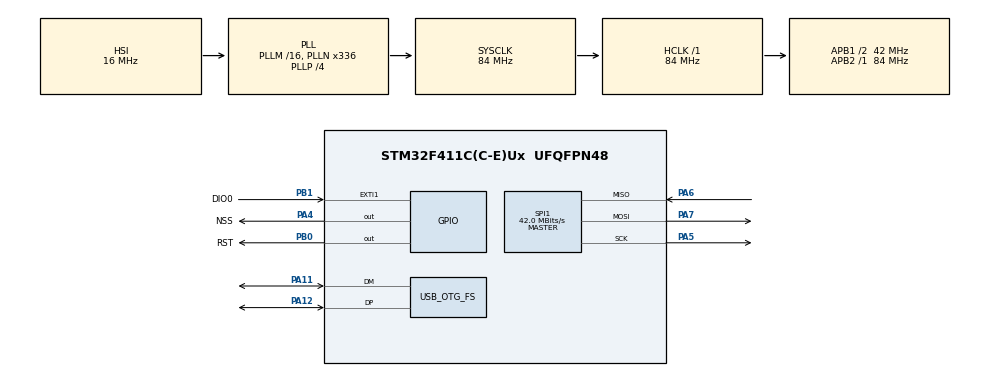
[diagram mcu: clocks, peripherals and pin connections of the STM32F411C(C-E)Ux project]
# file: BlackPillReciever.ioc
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Mcu.Family=STM32F4
Mcu.Name=STM32F411C(C-E)Ux
Mcu.Package=UFQFPN48
NVIC.OTG_FS_IRQn=true\:0\:0\:false\:false\:true\:false\:true\:true
NVIC.PriorityGroup=NVIC_PRIORITYGROUP_4
PA11.Mode=Device_Only
PA11.Signal=USB_OTG_FS_DM
PA12.Mode=Device_Only
PA12.Signal=USB_OTG_FS_DP
PA4.GPIO_Label=NSS
PA4.Signal=GPIO_Output
PA5.Mode=Full_Duplex_Master
PA5.Signal=SPI1_SCK
PA6.Mode=Full_Duplex_Master
PA6.Signal=SPI1_MISO
PA7.Mode=Full_Duplex_Master
PA7.Signal=SPI1_MOSI
PB0.GPIO_Label=RST
PB0.Signal=GPIO_Output
PB1.GPIO_Label=DIO0
PB1.Signal=GPXTI1
PH0\ -\ OSC_IN.Mode=HSE-External-Oscillator
PH0\ -\ OSC_IN.Signal=RCC_OSC_IN
PH1\ -\ OSC_OUT.Mode=HSE-External-Oscillator
PH1\ -\ OSC_OUT.Signal=RCC_OSC_OUT
ProjectManager.HeapSize=0x200
ProjectManager.StackSize=0x400
ProjectManager.TargetToolchain=STM32CubeIDE
RCC.48MHZClocksFreq_Value=48000000
RCC.AHBFreq_Value=84000000
RCC.APB1CLKDivider=RCC_HCLK_DIV2
RCC.APB1Freq_Value=42000000
RCC.APB1TimFreq_Value=84000000
RCC.APB2Freq_Value=84000000
RCC.APB2TimFreq_Value=84000000
RCC.CortexFreq_Value=84000000
RCC.HCLKFreq_Value=84000000
RCC.HSE_VALUE=25000000
RCC.HSI_VALUE=16000000
RCC.LSE_VALUE=32768
RCC.PLLN=336
RCC.PLLP=RCC_PLLP_DIV4
RCC.PLLQ=7
RCC.PLLSourceVirtualString=RCC_PLLSOURCE_HSI
RCC.SYSCLKFreq_VALUE=84000000
RCC.SYSCLKSource=RCC_SYSCLKSOURCE_PLLCLK
RCC.VCOOutputFreq_Value=336000000
SPI1.BaudRatePrescaler=SPI_BAUDRATEPRESCALER_2
SPI1.CalculateBaudRate=42.0 MBits/s
SPI1.Direction=SPI_DIRECTION_2LINES
SPI1.Mode=SPI_MODE_MASTER
SPI1.VirtualType=VM_MASTER
USB_DEVICE.CLASS_NAME_FS=CDC
USB_DEVICE.VirtualMode=Cdc
USB_DEVICE.VirtualModeFS=Cdc_FS
USB_OTG_FS.VirtualMode=Device_Only
VP_USB_DEVICE_VS_USB_DEVICE_CDC_FS.Mode=CDC_FS
board=custom

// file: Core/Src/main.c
/* USER CODE BEGIN Header */
/**
  ******************************************************************************
  * @file           : main.c
  * @brief          : Main program body
  ******************************************************************************
  * @attention
  *
  * Copyright (c) 2026 STMicroelectronics.
  * All rights reserved.
  *
  * This software is licensed under terms that can be found in the LICENSE file
  * in the root directory of this software component.
  * If no LICENSE file comes with this software, it is provided AS-IS.
  *
  ******************************************************************************
  */
/* USER CODE END Header */

#include "main.h"
#include "usb_device.h"
#include "usbd_cdc_if.h"
#include <string.h>
#include <stdio.h>

/* USER CODE BEGIN PD */
#define LORA_NSS_PORT GPIOA
#define LORA_NSS_PIN  GPIO_PIN_4

#define LORA_RST_PORT GPIOB
#define LORA_RST_PIN  GPIO_PIN_0

#define LORA_DIO0_PORT GPIOB
#define LORA_DIO0_PIN  GPIO_PIN_1
extern uint8_t CDC_Transmit_FS(uint8_t* Buf, uint16_t Len);
/* USER CODE END PD */

SPI_HandleTypeDef hspi1;

/* USER CODE BEGIN PV */
uint8_t rxBuffer[128];
uint32_t packets = 0;
/* USER CODE END PV */

void SystemClock_Config(void);
static void MX_GPIO_Init(void);
static void MX_SPI1_Init(void);
/* USER CODE END PFP */

/* USER CODE BEGIN 0 */
void usb_print(char *msg)
{
    while(CDC_Transmit_FS((uint8_t*)msg, strlen(msg)) == USBD_BUSY)
        HAL_Delay(1);
}

void lora_select()
{
    HAL_GPIO_WritePin(LORA_NSS_PORT, LORA_NSS_PIN, GPIO_PIN_RESET);
}

void lora_unselect()
{
    HAL_GPIO_WritePin(LORA_NSS_PORT, LORA_NSS_PIN, GPIO_PIN_SET);
}

void lora_write(uint8_t reg, uint8_t data)
{
    uint8_t buf[2];
    buf[0] = reg | 0x80;
    buf[1] = data;

    lora_select();
    HAL_SPI_Transmit(&hspi1, buf, 2, 100);
    lora_unselect();
}

uint8_t lora_read(uint8_t reg)
{
    uint8_t tx[2], rx[2];

    tx[0] = reg & 0x7F;
    tx[1] = 0x00;

    lora_select();
    HAL_SPI_TransmitReceive(&hspi1, tx, rx, 2, 100);
    lora_unselect();

    return rx[1];
}

void lora_reset()
{
    HAL_GPIO_WritePin(LORA_RST_PORT, LORA_RST_PIN, GPIO_PIN_RESET);
    HAL_Delay(10);
    HAL_GPIO_WritePin(LORA_RST_PORT, LORA_RST_PIN, GPIO_PIN_SET);
    HAL_Delay(10);
}

void lora_init()
{
    lora_reset();

    lora_write(0x01, 0x80);   // sleep LoRa
    HAL_Delay(10);

    lora_write(0x01, 0x81);   // standby

    /* 433 MHz */
    lora_write(0x06, 0x6C);
    lora_write(0x07, 0x80);
    lora_write(0x08, 0x00);

    lora_write(0x0C, 0x23);   // LNA boost

    lora_write(0x0E, 0x00);
    lora_write(0x0F, 0x00);

    lora_write(0x1D, 0x72);   // BW125 CR4/5
    lora_write(0x1E, 0x74);   // SF7 CRC ON
    lora_write(0x26, 0x04);   // AGC ON

    lora_write(0x39, 0x34);   // sync word

    lora_write(0x40, 0x00);   // DIO0 = RxDone

    lora_write(0x12, 0xFF);   // clear IRQ

    lora_write(0x01, 0x85);   // continuous RX mode
}

void lora_receive()
{
    uint8_t irq = lora_read(0x12);

    if((irq & 0x40) && !(irq & 0x20))   // RxDone & no CRC error
    {
        lora_write(0x12, 0xFF);

        uint8_t len  = lora_read(0x13);
        uint8_t addr = lora_read(0x10);

        if(len > sizeof(rxBuffer))
        {
            usb_print("PACKET TOO LARGE\r\n");
            return;
        }

        lora_write(0x0D, addr);

        for(uint8_t i = 0; i < len; i++)
        {
            rxBuffer[i] = lora_read(0x00);
        }

        int rssi = lora_read(0x1A) - 157;

        uint8_t p = 0;

        char team[16]  = {0};
        char state[16] = {0};

        /* ================= TEAM ================= */
        uint8_t team_len = rxBuffer[p++];

        if(team_len > 15)
            return;

        memcpy(team, &rxBuffer[p], team_len);
        team[team_len] = '\0';
        p += team_len;

        /* ================= TIME ================= */
        int32_t time;
        memcpy(&time, &rxBuffer[p], 4);
        p += 4;

        /* ================= PACKET COUNT ================= */
        int32_t packetCount;
        memcpy(&packetCount, &rxBuffer[p], 4);
        p += 4;

        /* ================= ALTITUDE ================= */
        float altitude;
        memcpy(&altitude, &rxBuffer[p], 4);
        p += 4;

        /* ================= PRESSURE ================= */
        float pressure;
        memcpy(&pressure, &rxBuffer[p], 4);
        p += 4;

        /* ================= TEMPERATURE ================= */
        float temperature;
        memcpy(&temperature, &rxBuffer[p], 4);
        p += 4;

        /* ================= VOLTAGE ================= */
        float voltage;
        memcpy(&voltage, &rxBuffer[p], 4);
        p += 4;

        /* ================= GPS ================= */
        float latitude;
        memcpy(&latitude, &rxBuffer[p], 4);
        p += 4;

        float longitude;
        memcpy(&longitude, &rxBuffer[p], 4);
        p += 4;

        float gps_altitude;
        memcpy(&gps_altitude, &rxBuffer[p], 4);
        p += 4;

        /* ================= SATELLITES ================= */
        int32_t satellites;
        memcpy(&satellites, &rxBuffer[p], 4);
        p += 4;

        /* ================= ACCEL ================= */
        float ax, ay, az;

        memcpy(&ax, &rxBuffer[p], 4);
        p += 4;

        memcpy(&ay, &rxBuffer[p], 4);
        p += 4;

        memcpy(&az, &rxBuffer[p], 4);
        p += 4;

        /* ================= GYRO ================= */
        float gyro;
        memcpy(&gyro, &rxBuffer[p], 4);
        p += 4;

        /* ================= STATE ================= */
        uint8_t state_len = rxBuffer[p++];

        if(state_len > 15)
            return;

        memcpy(state, &rxBuffer[p], state_len);
        state[state_len] = '\0';
        p += state_len;

        /* ================= PRINT ================= */
        char msg[400];

        sprintf(msg,
        "TEAM:%s | "
        "TIME:%ld | "
        "PKT:%ld | "
        "ALT:%.2fm | "
        "P:%.2fhPa | "
        "T:%.2fC | "
        "V:%.2fV | "
        "LAT:%.5f | "
        "LON:%.5f | "
        "GPS_ALT:%.2fm | "
        "SAT:%ld | "
        "AX:%.2f AY:%.2f AZ:%.2f | "
        "GYRO:%.2f | "
        "STATE:%s | "
        "RSSI:%d dBm\r\n",

        team,
        time,
        packetCount,
        altitude,
        pressure,
        temperature,
        voltage,
        latitude,
        longitude,
        gps_altitude,
        satellites,
        ax, ay, az,
        gyro,
        state,
        rssi);

        usb_print(msg);

        packets++;
    }
}

/* USER CODE END 0 */

int main(void)
{

  /* MCU Configuration--------------------------------------------------------*/

  /* Reset of all peripherals, Initializes the Flash interface and the Systick. */
  HAL_Init();

  /* Configure the system clock */
  SystemClock_Config();

  /* Initialize all configured peripherals */
  MX_GPIO_Init();
  MX_SPI1_Init();
  MX_USB_DEVICE_Init();
  /* USER CODE BEGIN 2 */
  HAL_Delay(1000);

  usb_print("LoRa Receiver Start\r\n");

  lora_init();

  uint8_t ver = lora_read(0x42);
  char msg[50];
  sprintf(msg,"SX1278 Version: 0x%02X\r\n",ver);
  usb_print(msg);

  usb_print("Waiting Packets...\r\n");

  /* USER CODE END 2 */

  /* Infinite loop */
  /* USER CODE BEGIN WHILE */
  while (1)
  {
	  lora_receive();
	  HAL_Delay(10);
    /* USER CODE END WHILE */

  }
}

void SystemClock_Config(void)
{
  RCC_OscInitTypeDef RCC_OscInitStruct = {0};
  RCC_ClkInitTypeDef RCC_ClkInitStruct = {0};

  /** Configure the main internal regulator output voltage
  */
  __HAL_RCC_PWR_CLK_ENABLE();
  __HAL_PWR_VOLTAGESCALING_CONFIG(PWR_REGULATOR_VOLTAGE_SCALE1);

  /** Initializes the RCC Oscillators according to the specified parameters
  * in the RCC_OscInitTypeDef structure.
  */
  RCC_OscInitStruct.OscillatorType = RCC_OSCILLATORTYPE_HSI;
  RCC_OscInitStruct.HSIState = RCC_HSI_ON;
  RCC_OscInitStruct.HSICalibrationValue = RCC_HSICALIBRATION_DEFAULT;
  RCC_OscInitStruct.PLL.PLLState = RCC_PLL_ON;
  RCC_OscInitStruct.PLL.PLLSource = RCC_PLLSOURCE_HSI;
  RCC_OscInitStruct.PLL.PLLM = 16;
  RCC_OscInitStruct.PLL.PLLN = 336;
  RCC_OscInitStruct.PLL.PLLP = RCC_PLLP_DIV4;
  RCC_OscInitStruct.PLL.PLLQ = 7;
  if (HAL_RCC_OscConfig(&RCC_OscInitStruct) != HAL_OK)
  {
    Error_Handler();
  }

  /** Initializes the CPU, AHB and APB buses clocks
  */
  RCC_ClkInitStruct.ClockType = RCC_CLOCKTYPE_HCLK|RCC_CLOCKTYPE_SYSCLK
                              |RCC_CLOCKTYPE_PCLK1|RCC_CLOCKTYPE_PCLK2;
  RCC_ClkInitStruct.SYSCLKSource = RCC_SYSCLKSOURCE_PLLCLK;
  RCC_ClkInitStruct.AHBCLKDivider = RCC_SYSCLK_DIV1;
  RCC_ClkInitStruct.APB1CLKDivider = RCC_HCLK_DIV2;
  RCC_ClkInitStruct.APB2CLKDivider = RCC_HCLK_DIV1;

  if (HAL_RCC_ClockConfig(&RCC_ClkInitStruct, FLASH_LATENCY_2) != HAL_OK)
  {
    Error_Handler();
  }
}

static void MX_SPI1_Init(void)
{

  /* SPI1 parameter configuration*/
  hspi1.Instance = SPI1;
  hspi1.Init.Mode = SPI_MODE_MASTER;
  hspi1.Init.Direction = SPI_DIRECTION_2LINES;
  hspi1.Init.DataSize = SPI_DATASIZE_8BIT;
  hspi1.Init.CLKPolarity = SPI_POLARITY_LOW;
  hspi1.Init.CLKPhase = SPI_PHASE_1EDGE;
  hspi1.Init.NSS = SPI_NSS_SOFT;
  hspi1.Init.BaudRatePrescaler = SPI_BAUDRATEPRESCALER_16;
  hspi1.Init.FirstBit = SPI_FIRSTBIT_MSB;
  hspi1.Init.TIMode = SPI_TIMODE_DISABLE;
  hspi1.Init.CRCCalculation = SPI_CRCCALCULATION_DISABLE;
  hspi1.Init.CRCPolynomial = 10;
  if (HAL_SPI_Init(&hspi1) != HAL_OK)
  {
    Error_Handler();
  }

}

static void MX_GPIO_Init(void)
{
  GPIO_InitTypeDef GPIO_InitStruct = {0};

  /* GPIO Ports Clock Enable */
  __HAL_RCC_GPIOH_CLK_ENABLE();
  __HAL_RCC_GPIOA_CLK_ENABLE();
  __HAL_RCC_GPIOB_CLK_ENABLE();

  /* USER CODE BEGIN MX_GPIO_Init_1 */
  // Set initial states BEFORE config
  HAL_GPIO_WritePin(LORA_NSS_PORT, LORA_NSS_PIN, GPIO_PIN_SET);   // NSS HIGH (inactive)
  HAL_GPIO_WritePin(LORA_RST_PORT, LORA_RST_PIN, GPIO_PIN_SET);   // RST HIGH
  /* USER CODE END MX_GPIO_Init_1 */

  /*Configure GPIO pin : NSS_Pin → PA4 */
  GPIO_InitStruct.Pin = LORA_NSS_PIN;  // PA4
  GPIO_InitStruct.Mode = GPIO_MODE_OUTPUT_PP;
  GPIO_InitStruct.Pull = GPIO_NOPULL;
  GPIO_InitStruct.Speed = GPIO_SPEED_FREQ_LOW;
  HAL_GPIO_Init(LORA_NSS_PORT, &GPIO_InitStruct);  // GPIOA

  /*Configure GPIO pin : RST_Pin → PB0 */
  GPIO_InitStruct.Pin = LORA_RST_PIN;  // PB0
  GPIO_InitStruct.Mode = GPIO_MODE_OUTPUT_PP;
  GPIO_InitStruct.Pull = GPIO_NOPULL;
  GPIO_InitStruct.Speed = GPIO_SPEED_FREQ_LOW;
  HAL_GPIO_Init(LORA_RST_PORT, &GPIO_InitStruct);  // GPIOB

  /*Configure GPIO pin : DIO0_Pin → PB1 */
  GPIO_InitStruct.Pin = LORA_DIO0_PIN;  // PB1
  GPIO_InitStruct.Mode = GPIO_MODE_IT_RISING;
  GPIO_InitStruct.Pull = GPIO_NOPULL;
  HAL_GPIO_Init(GPIOB, &GPIO_InitStruct);  // GPIOB

  /* USER CODE BEGIN MX_GPIO_Init_2 */
  HAL_GPIO_WritePin(LORA_NSS_PORT, LORA_NSS_PIN, GPIO_PIN_SET);  // Ensure NSS idle HIGH
  /* USER CODE END MX_GPIO_Init_2 */
}

void Error_Handler(void)
{
  __disable_irq();
  while (1)
  {
  }
}
